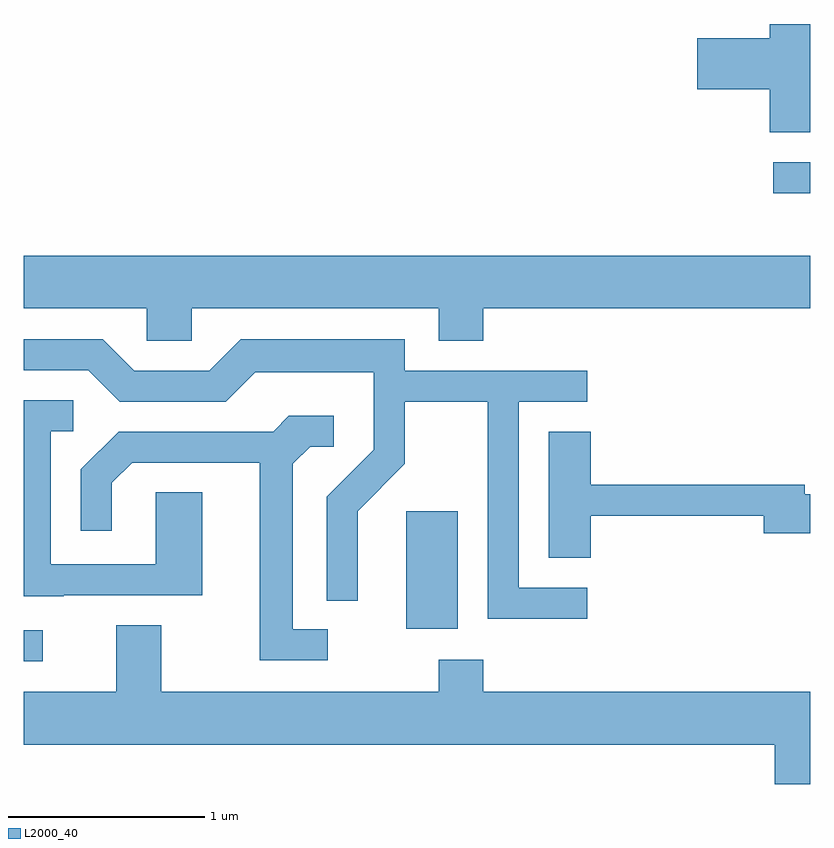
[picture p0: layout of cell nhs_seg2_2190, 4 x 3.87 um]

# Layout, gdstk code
import gdstk
lib = gdstk.Library(unit=1e-6, precision=1e-09)
def R(c, l, rs):  # rectangles x0, y0, x1, y1
    for r in rs: c.add(gdstk.rectangle(r[:2], r[2:], *l))
def P(c, l, *ps):  # polygons
    for p in ps: c.add(gdstk.Polygon(p, *l))
L2000_40 = (2000, 40)

nhs_seg2_2190 = lib.new_cell('nhs_seg2_2190')
R(nhs_seg2_2190, L2000_40, [(249.611,1006.561,249.708,1006.719), (251.556,1006.726,251.819,1007.324), (253.423,1008.941,253.611,1009.099)])
P(nhs_seg2_2190, L2000_40, [(253.611,1009.802),(253.406,1009.802),(253.406,1009.729),(253.036,1009.729),(253.036,1009.471),(253.406,1009.471),(253.406,1009.251),(253.611,1009.251)],
  [(250.464,1008.356),(251.721,1008.356),(251.721,1008.191),(251.949,1008.191),(251.949,1008.356),(253.611,1008.356),(253.611,1008.624),(249.611,1008.624),(249.611,1008.356),(250.236,1008.356),(250.236,1008.191),(250.464,1008.191)],
  [(252.478,1006.934),(252.129,1006.934),(252.129,1007.881),(252.478,1007.881),(252.478,1008.039),(251.549,1008.039),(251.549,1008.199),(250.714,1008.199),(250.554,1008.039),(250.172,1008.039),(250.012,1008.199),(249.611,1008.199),(249.611,1008.041),(249.939,1008.041),(250.099,1007.881),(250.637,1007.881),(250.787,1008.031),(251.391,1008.031),(251.391,1007.637),(251.151,1007.397),(251.151,1006.868),(251.309,1006.868),(251.309,1007.324),(251.549,1007.564),(251.549,1007.881),(251.971,1007.881),(251.971,1006.776),(252.478,1006.776)],
  [(249.815,1006.896),(250.519,1006.896),(250.519,1007.419),(250.281,1007.419),(250.281,1007.054),(249.749,1007.054),(249.749,1007.731),(249.863,1007.731),(249.863,1007.889),(249.611,1007.889),(249.611,1006.891),(249.815,1006.891)],
  [(251.158,1006.724),(250.979,1006.724),(250.979,1007.564),(251.067,1007.651),(251.188,1007.651),(251.188,1007.809),(250.959,1007.809),(250.879,1007.729),(250.094,1007.729),(249.901,1007.537),(249.901,1007.223),(250.059,1007.223),(250.059,1007.469),(250.162,1007.571),(250.811,1007.571),(250.811,1006.566),(251.158,1006.566)],
  [(252.494,1007.301),(253.376,1007.301),(253.376,1007.211),(253.611,1007.211),(253.611,1007.409),(253.584,1007.409),(253.584,1007.459),(252.494,1007.459),(252.494,1007.729),(252.281,1007.729),(252.281,1007.086),(252.494,1007.086)],
  [(253.611,1006.404),(251.949,1006.404),(251.949,1006.569),(251.721,1006.569),(251.721,1006.404),(250.309,1006.404),(250.309,1006.744),(250.081,1006.744),(250.081,1006.404),(249.611,1006.404),(249.611,1006.136),(253.431,1006.136),(253.431,1005.936),(253.611,1005.936)])

lib.write_gds('nhs_seg2_2190.gds')
